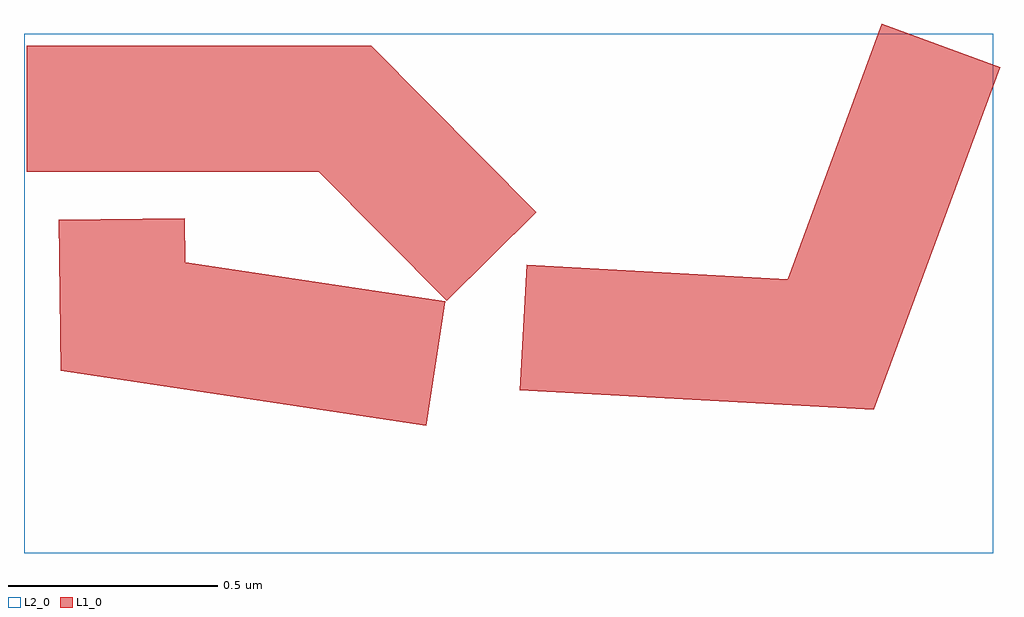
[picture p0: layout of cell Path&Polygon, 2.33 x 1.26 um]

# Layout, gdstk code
import gdstk
lib = gdstk.Library(unit=1e-6, precision=1e-09)
def R(c, l, rs):  # rectangles x0, y0, x1, y1
    for r in rs: c.add(gdstk.rectangle(r[:2], r[2:], *l))
L1_0 = (1, 0)
L2_0 = (2, 0)

path_polygon = lib.new_cell('Path&Polygon')
R(path_polygon, L2_0, [(-1.264,-0.471,1.047,0.768)])
path_polygon.add(gdstk.FlexPath([(-1.108,0.589),(-0.498,0.589),(-0.255,0.343)], 0.3, ends="extended", simple_path=True, layer=1, datatype=0))  # L1_0
path_polygon.add(gdstk.FlexPath([(-1.031,0.326),(-1.028,0.093),(-0.282,-0.019)], 0.3, ends="flush", simple_path=True, layer=1, datatype=0))  # L1_0
path_polygon.add(gdstk.FlexPath([(0.076,0.059),(0.66,0.027),(0.871,0.599)], 0.3, ends="round", simple_path=True, layer=1, datatype=0))  # L1_0

lib.write_gds('Path_Polygon.gds')
